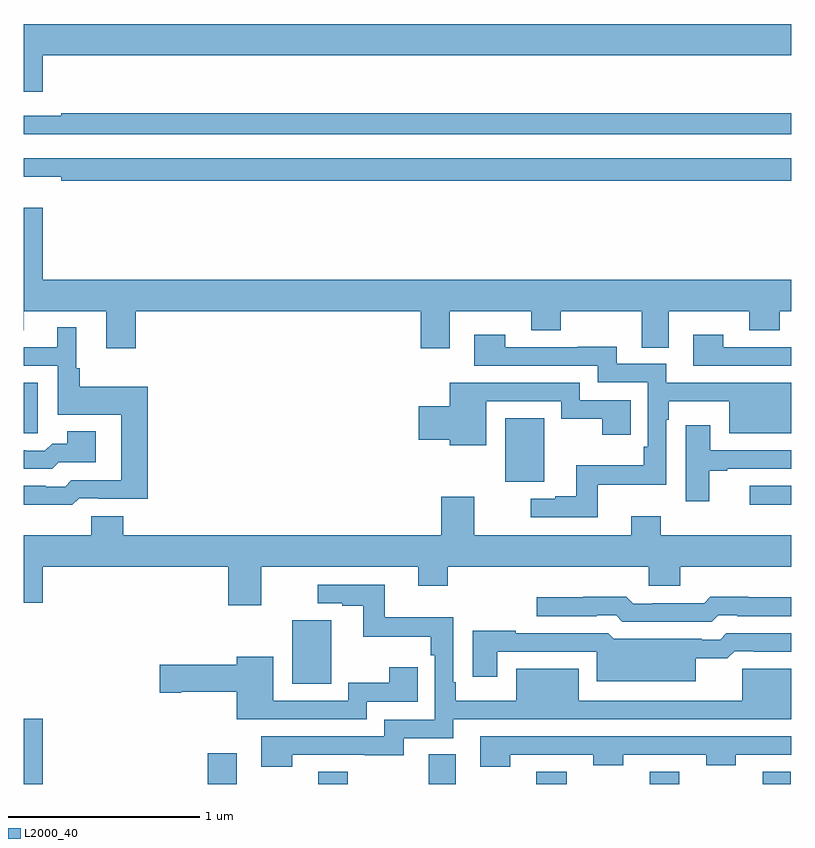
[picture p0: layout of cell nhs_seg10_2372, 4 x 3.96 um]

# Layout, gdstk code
import gdstk
lib = gdstk.Library(unit=1e-6, precision=1e-09)
def R(c, l, rs):  # rectangles x0, y0, x1, y1
    for r in rs: c.add(gdstk.rectangle(r[:2], r[2:], *l))
def P(c, l, *ps):  # polygons
    for p in ps: c.add(gdstk.Polygon(p, *l))
L2000_40 = (2000, 40)

nhs_seg10_2372 = lib.new_cell('nhs_seg10_2372')
R(nhs_seg10_2372, L2000_40, [(237,1316.5,237.1,1316.839), (237.959,1316.5,238.111,1316.659), (238.534,1316.5,238.689,1316.563), (239.111,1316.5,239.251,1316.654), (239.671,1316.5,239.829,1316.563), (240.262,1316.5,240.417,1316.563), (240.85,1316.5,240.997,1316.563), (238.4,1317.023,238.603,1317.352), (240.783,1317.956,241,1318.053), (239.51,1318.076,239.713,1318.405), (237,1318.328,237.073,1318.591)])
P(nhs_seg10_2372, L2000_40, [(237.1,1320.296),(241,1320.296),(241,1320.46),(237,1320.46),(237,1320.108),(237.1,1320.108)],
  [(241,1319.995),(237.196,1319.995),(237.196,1319.982),(237,1319.982),(237,1319.886),(241,1319.886)],
  [(241,1319.76),(237,1319.76),(237,1319.663),(237.196,1319.663),(237.196,1319.644),(241,1319.644)],
  [(237.584,1318.964),(239.069,1318.964),(239.069,1318.77),(239.221,1318.77),(239.221,1318.964),(239.644,1318.964),(239.644,1318.865),(239.799,1318.865),(239.799,1318.964),(240.221,1318.964),(240.221,1318.774),(240.361,1318.774),(240.361,1318.964),(240.781,1318.964),(240.781,1318.865),(240.939,1318.865),(240.939,1318.964),(241,1318.964),(241,1319.128),(237.1,1319.128),(237.1,1319.503),(237,1319.503),(237,1318.865),(237.001,1318.865),(237.001,1318.964),(237.431,1318.964),(237.431,1318.77),(237.584,1318.77)],
  [(237.289,1317.99),(237.388,1317.99),(237.388,1317.987),(237.647,1317.987),(237.647,1318.57),(237.293,1318.57),(237.293,1318.666),(237.274,1318.666),(237.274,1318.879),(237.176,1318.879),(237.176,1318.776),(237,1318.776),(237,1318.68),(237.177,1318.68),(237.177,1318.424),(237.509,1318.424),(237.509,1318.083),(237.249,1318.083),(237.216,1318.05),(237.116,1318.05),(237.116,1318.053),(237,1318.053),(237,1317.956),(237.058,1317.956),(237.058,1317.954),(237.253,1317.954)],
  [(239.992,1318.058),(240.348,1318.058),(240.348,1318.397),(240.361,1318.397),(240.361,1318.494),(240.677,1318.494),(240.677,1318.328),(241,1318.328),(241,1318.59),(240.349,1318.59),(240.349,1318.689),(240.091,1318.689),(240.091,1318.778),(239.887,1318.778),(239.887,1318.776),(239.51,1318.776),(239.51,1318.84),(239.349,1318.84),(239.349,1318.68),(239.99,1318.68),(239.99,1318.593),(240.252,1318.593),(240.252,1318.258),(240.232,1318.258),(240.232,1318.162),(239.879,1318.162),(239.879,1318),(239.769,1318),(239.769,1317.987),(239.643,1317.987),(239.643,1317.891),(239.992,1317.891)],
  [(241,1318.776),(240.645,1318.776),(240.645,1318.84),(240.489,1318.84),(240.489,1318.68),(241,1318.68)],
  [(239.41,1318.494),(239.802,1318.494),(239.802,1318.402),(240.016,1318.402),(240.016,1318.32),(240.163,1318.32),(240.163,1318.5),(239.898,1318.5),(239.898,1318.59),(239.219,1318.59),(239.219,1318.467),(239.058,1318.467),(239.058,1318.294),(239.219,1318.294),(239.219,1318.265),(239.41,1318.265)],
  [(240.571,1318.131),(240.667,1318.131),(240.667,1318.143),(241,1318.143),(241,1318.239),(240.577,1318.239),(240.577,1318.369),(240.449,1318.369),(240.449,1317.972),(240.571,1317.972)],
  [(237.183,1318.176),(237.376,1318.176),(237.376,1318.339),(237.227,1318.339),(237.227,1318.273),(237.148,1318.273),(237.111,1318.236),(237.011,1318.236),(237.011,1318.239),(237,1318.239),(237,1318.143),(237.15,1318.143)],
  [(238.239,1317.632),(239.057,1317.632),(239.057,1317.533),(239.21,1317.533),(239.21,1317.632),(240.257,1317.632),(240.257,1317.533),(240.422,1317.533),(240.422,1317.632),(241,1317.632),(241,1317.796),(240.32,1317.796),(240.32,1317.895),(240.167,1317.895),(240.167,1317.796),(239.349,1317.796),(239.349,1317.997),(239.177,1317.997),(239.177,1317.796),(237.518,1317.796),(237.518,1317.895),(237.353,1317.895),(237.353,1317.796),(237,1317.796),(237,1317.444),(237.1,1317.444),(237.1,1317.632),(238.067,1317.632),(238.067,1317.432),(238.239,1317.432)],
  [(238.4,1316.652),(238.777,1316.652),(238.777,1316.651),(238.981,1316.651),(238.981,1316.739),(239.239,1316.739),(239.239,1316.838),(240.847,1316.838),(240.847,1316.837),(241,1316.837),(241,1317.1),(240.743,1317.1),(240.743,1316.934),(239.893,1316.934),(239.893,1317.1),(239.567,1317.1),(239.567,1316.934),(239.251,1316.934),(239.251,1317.031),(239.238,1317.031),(239.238,1317.37),(238.882,1317.37),(238.882,1317.537),(238.533,1317.537),(238.533,1317.441),(238.659,1317.441),(238.659,1317.429),(238.769,1317.429),(238.769,1317.266),(239.122,1317.266),(239.122,1317.17),(239.142,1317.17),(239.142,1316.835),(238.88,1316.835),(238.88,1316.748),(238.239,1316.748),(238.239,1316.589),(238.4,1316.589)],
  [(240.618,1317.378),(240.718,1317.378),(240.718,1317.375),(241,1317.375),(241,1317.472),(240.776,1317.472),(240.776,1317.475),(240.578,1317.475),(240.545,1317.442),(240.277,1317.442),(240.277,1317.438),(240.177,1317.438),(240.141,1317.475),(239.916,1317.475),(239.916,1317.472),(239.673,1317.472),(239.673,1317.375),(239.987,1317.375),(239.987,1317.378),(240.087,1317.378),(240.12,1317.345),(240.585,1317.345)],
  [(240.502,1317.154),(240.667,1317.154),(240.705,1317.192),(240.805,1317.192),(240.805,1317.189),(241,1317.189),(241,1317.285),(240.662,1317.285),(240.629,1317.252),(240.533,1317.252),(240.533,1317.256),(240.075,1317.256),(240.046,1317.285),(239.563,1317.285),(239.563,1317.298),(239.339,1317.298),(239.339,1317.06),(239.467,1317.06),(239.467,1317.189),(239.985,1317.189),(239.985,1317.035),(240.502,1317.035)],
  [(238.788,1316.928),(239.053,1316.928),(239.053,1317.109),(238.906,1317.109),(238.906,1317.027),(238.692,1317.027),(238.692,1316.934),(238.3,1316.934),(238.3,1317.163),(238.109,1317.163),(238.109,1317.122),(237.708,1317.122),(237.708,1316.975),(237.82,1316.975),(237.82,1316.98),(238.109,1316.98),(238.109,1316.838),(238.788,1316.838)],
  [(239.535,1316.652),(239.968,1316.652),(239.968,1316.597),(240.123,1316.597),(240.123,1316.652),(240.556,1316.652),(240.556,1316.597),(240.711,1316.597),(240.711,1316.652),(241,1316.652),(241,1316.748),(239.379,1316.748),(239.379,1316.589),(239.535,1316.589)])

lib.write_gds('nhs_seg10_2372.gds')
